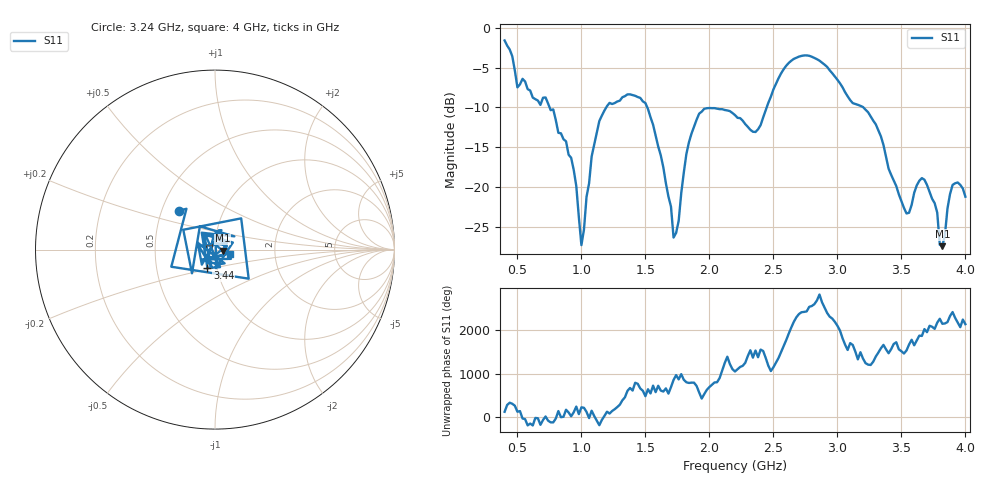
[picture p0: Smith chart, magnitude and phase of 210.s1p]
!Created with skrf (http://scikit-rf.org).
# Hz S RI R 50.0
!freq ReS11 ImS11
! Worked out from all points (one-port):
!   181 points, 400 MHz to 4 GHz, reference 50 ohm
!   lowest |S11| = -27.4 dB at 3.82 GHz (marker M1), VSWR 1.09, Z = 54.4 - j0.738 ohm
!   |S11| at or under -10 dB: 751.8 MHz to 1.194 GHz (442 MHz wide, 45.4 % of centre); 1.515 GHz to 2.447 GHz (932.4 MHz wide, 47.1 % of centre); 3.203 GHz to end of sweep
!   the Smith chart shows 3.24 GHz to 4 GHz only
!   S11 on the Smith chart (normalised r, x): 3.24 GHz: 0.61, +0.29; 3.44 GHz: 0.90, -0.19; 4 GHz: 1.18, -0.06
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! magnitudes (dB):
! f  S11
! 400 MHz  -1.6
! 500 MHz  -7.5
! 720 MHz  -8.7
! 860 MHz  -14.0
! 940 MHz  -17.8
! 1 GHz  -27.3
! 1.08 GHz  -16.1
! 1.14 GHz  -11.7
! 1.3 GHz  -9.1
! 1.5 GHz  -9.4
! 1.64 GHz  -17.5
! 1.72 GHz  -26.3
! 1.76 GHz  -24.2
! 1.82 GHz  -15.8
! 1.92 GHz  -10.8
! 2.2 GHz  -11.0
! 2.36 GHz  -13.1
! 2.66 GHz  -3.9
! 2.86 GHz  -4.1
! 3.1 GHz  -9.1
! 3.24 GHz  -10.6
! 3.44 GHz  -19.2
! 3.56 GHz  -23.2
! 3.68 GHz  -19.1
! 3.76 GHz  -22.0
! 3.82 GHz  -27.4
! 3.9 GHz  -19.7
! 4 GHz  -21.2
